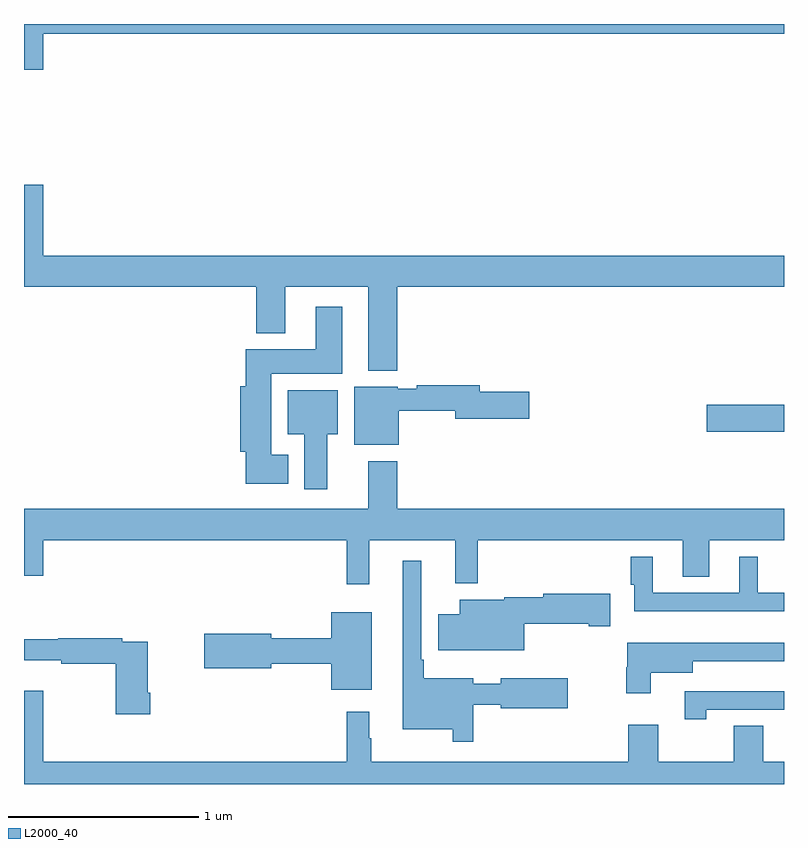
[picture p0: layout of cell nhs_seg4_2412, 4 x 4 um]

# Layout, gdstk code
import gdstk
lib = gdstk.Library(unit=1e-6, precision=1e-09)
def R(c, l, rs):  # rectangles x0, y0, x1, y1
    for r in rs: c.add(gdstk.rectangle(r[:2], r[2:], *l))
def P(c, l, *ps):  # polygons
    for p in ps: c.add(gdstk.Polygon(p, *l))
L2000_40 = (2000, 40)

nhs_seg4_2412 = lib.new_cell('nhs_seg4_2412')
R(nhs_seg4_2412, L2000_40, [(240.594,766.753,241,766.895)])
P(nhs_seg4_2412, L2000_40, [(237.1,768.848),(241,768.848),(241,768.9),(237,768.9),(237,768.66),(237.1,768.66)],
  [(238.964,767.516),(241,767.516),(241,767.68),(237.1,767.68),(237.1,768.055),(237,768.055),(237,767.516),(238.223,767.516),(238.223,767.273),(238.375,767.273),(238.375,767.516),(238.811,767.516),(238.811,767.075),(238.964,767.075)],
  [(238.39,766.633),(238.3,766.633),(238.3,767.06),(238.675,767.06),(238.675,767.413),(238.535,767.413),(238.535,767.188),(238.166,767.188),(238.166,766.993),(238.139,766.993),(238.139,766.649),(238.166,766.649),(238.166,766.481),(238.39,766.481)],
  [(238.972,766.864),(239.27,766.864),(239.27,766.822),(239.659,766.822),(239.659,766.964),(239.398,766.964),(239.398,767),(239.068,767),(239.068,766.98),(238.968,766.98),(238.968,766.99),(238.739,766.99),(238.739,766.685),(238.972,766.685)],
  [(238.597,766.742),(238.651,766.742),(238.651,766.972),(238.388,766.972),(238.388,766.742),(238.475,766.742),(238.475,766.452),(238.597,766.452)],
  [(238.817,766.184),(239.27,766.184),(239.27,765.956),(239.387,765.956),(239.387,766.184),(240.467,766.184),(240.467,765.991),(240.607,765.991),(240.607,766.184),(241,766.184),(241,766.348),(238.964,766.348),(238.964,766.6),(238.811,766.6),(238.811,766.348),(237,766.348),(237,765.996),(237.1,765.996),(237.1,766.184),(238.699,766.184),(238.699,765.951),(238.817,765.951)],
  [(241,765.906),(240.862,765.906),(240.862,766.096),(240.764,766.096),(240.764,765.906),(240.31,765.906),(240.31,766.096),(240.193,766.096),(240.193,765.948),(240.213,765.948),(240.213,765.809),(241,765.809)],
  [(239.365,765.318),(239.51,765.318),(239.51,765.299),(239.863,765.299),(239.863,765.457),(239.51,765.457),(239.51,765.427),(239.365,765.427),(239.365,765.457),(239.104,765.457),(239.104,765.553),(239.091,765.553),(239.091,766.075),(238.994,766.075),(238.994,765.188),(239.256,765.188),(239.256,765.123),(239.365,765.123)],
  [(239.632,765.743),(239.972,765.743),(239.972,765.731),(240.085,765.731),(240.085,765.901),(239.732,765.901),(239.732,765.883),(239.528,765.883),(239.528,765.871),(239.294,765.871),(239.294,765.793),(239.18,765.793),(239.18,765.605),(239.632,765.605)],
  [(238.831,765.805),(238.616,765.805),(238.616,765.668),(238.3,765.668),(238.3,765.692),(237.948,765.692),(237.948,765.509),(238.3,765.509),(238.3,765.532),(238.616,765.532),(238.616,765.395),(238.831,765.395)],
  [(237.665,765.379),(237.652,765.379),(237.652,765.648),(237.518,765.648),(237.518,765.668),(237.18,765.668),(237.18,765.661),(237,765.661),(237,765.551),(237.196,765.551),(237.196,765.532),(237.482,765.532),(237.482,765.267),(237.665,765.267)],
  [(240.298,765.485),(240.52,765.485),(240.52,765.545),(241,765.545),(241,765.643),(240.176,765.643),(240.176,765.515),(240.169,765.515),(240.169,765.378),(240.298,765.378)],
  [(241,765.016),(240.891,765.016),(240.891,765.206),(240.736,765.206),(240.736,765.016),(240.339,765.016),(240.339,765.211),(240.179,765.211),(240.179,765.016),(238.828,765.016),(238.828,765.14),(238.816,765.14),(238.816,765.28),(238.699,765.28),(238.699,765.016),(237.1,765.016),(237.1,765.391),(237,765.391),(237,764.9),(241,764.9)],
  [(240.59,765.291),(241,765.291),(241,765.388),(240.477,765.388),(240.477,765.24),(240.59,765.24)])

lib.write_gds('nhs_seg4_2412.gds')
